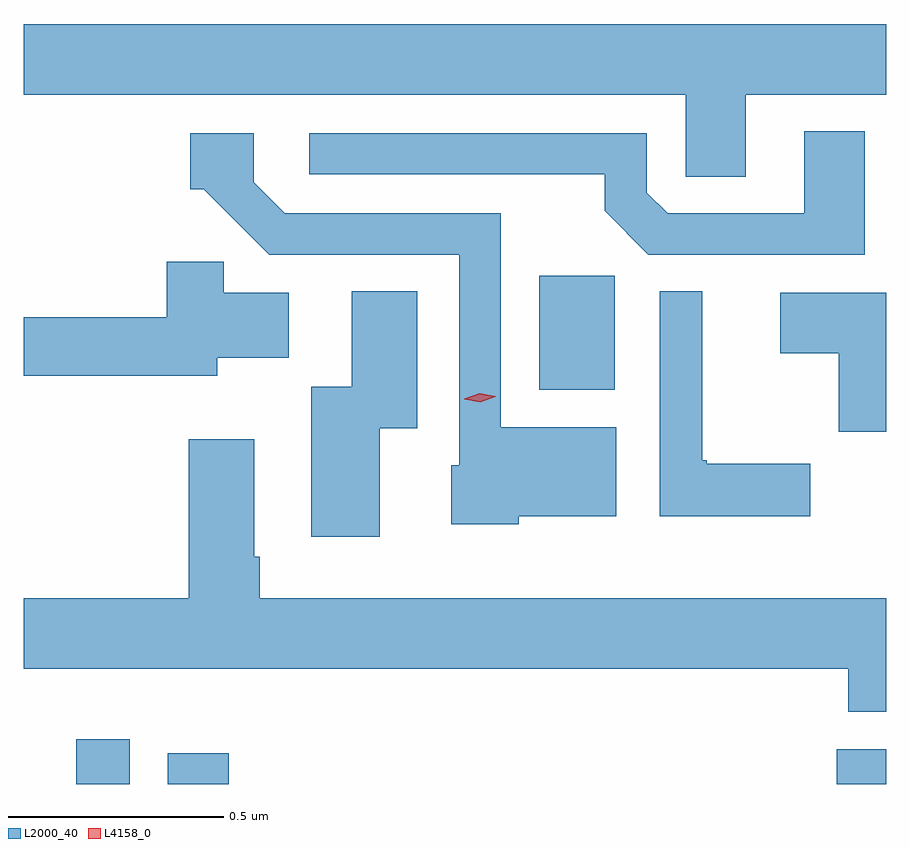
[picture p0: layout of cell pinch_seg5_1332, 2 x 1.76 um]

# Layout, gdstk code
import gdstk
lib = gdstk.Library(unit=1e-6, precision=1e-09)
def R(c, l, rs):  # rectangles x0, y0, x1, y1
    for r in rs: c.add(gdstk.rectangle(r[:2], r[2:], *l))
def P(c, l, *ps):  # polygons
    for p in ps: c.add(gdstk.Polygon(p, *l))
L2000_40 = (2000, 40)
L4158_0 = (4158, 0)

pinch_seg5_1332 = lib.new_cell('pinch_seg5_1332')
R(pinch_seg5_1332, L2000_40, [(374.486,844.505,374.611,844.609), (374.699,844.505,374.84,844.576), (376.25,844.505,376.365,844.586), (375.56,845.42,375.736,845.684)])
P(pinch_seg5_1332, L2000_40, [(376.039,846.104),(376.365,846.104),(376.365,846.268),(374.365,846.268),(374.365,846.104),(375.9,846.104),(375.9,845.914),(376.039,845.914)],
  [(376.315,846.019),(376.175,846.019),(376.175,845.829),(375.858,845.829),(375.81,845.877),(375.81,846.015),(375.027,846.015),(375.027,845.919),(375.712,845.919),(375.712,845.835),(375.813,845.733),(376.315,845.733)],
  [(375.513,845.126),(375.739,845.126),(375.739,845.332),(375.471,845.332),(375.471,845.829),(374.97,845.829),(374.898,845.901),(374.898,846.015),(374.751,846.015),(374.751,845.885),(374.782,845.885),(374.934,845.733),(375.375,845.733),(375.375,845.244),(375.356,845.244),(375.356,845.108),(375.513,845.108)],
  [(374.814,845.494),(374.979,845.494),(374.979,845.644),(374.828,845.644),(374.828,845.717),(374.696,845.717),(374.696,845.588),(374.365,845.588),(374.365,845.452),(374.814,845.452)],
  [(376.189,845.248),(375.949,845.248),(375.949,845.256),(375.938,845.256),(375.938,845.648),(375.84,845.648),(375.84,845.126),(376.189,845.126)],
  [(375.19,845.33),(375.277,845.33),(375.277,845.648),(375.125,845.648),(375.125,845.427),(375.032,845.427),(375.032,845.079),(375.19,845.079)],
  [(376.365,845.644),(376.119,845.644),(376.119,845.504),(376.255,845.504),(376.255,845.322),(376.365,845.322)],
  [(376.365,844.936),(374.912,844.936),(374.912,845.032),(374.899,845.032),(374.899,845.305),(374.747,845.305),(374.747,844.936),(374.365,844.936),(374.365,844.772),(376.277,844.772),(376.277,844.673),(376.365,844.673)])
P(pinch_seg5_1332, L4158_0, [(375.423,845.391),(375.387,845.398),(375.387,845.399),(375.387,845.399),(375.422,845.411),(375.458,845.404),(375.459,845.404),(375.458,845.403)])

lib.write_gds('pinch_seg5_1332.gds')
